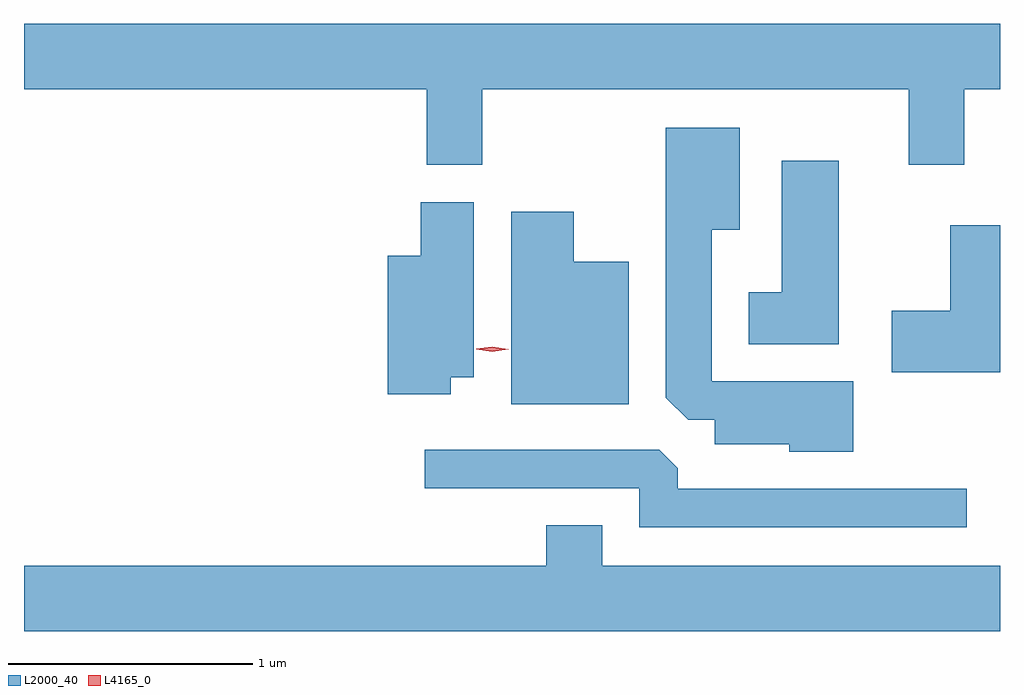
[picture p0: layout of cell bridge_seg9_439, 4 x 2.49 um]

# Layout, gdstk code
import gdstk
lib = gdstk.Library(unit=1e-6, precision=1e-09)
def P(c, l, *ps):  # polygons
    for p in ps: c.add(gdstk.Polygon(p, *l))
L2000_40 = (2000, 40)
L4165_0 = (4165, 0)

bridge_seg9_439 = lib.new_cell('bridge_seg9_439')
P(bridge_seg9_439, L2000_40, [(323.219,2042.876),(324.966,2042.876),(324.966,2042.566),(325.194,2042.566),(325.194,2042.876),(325.34,2042.876),(325.34,2043.144),(321.34,2043.144),(321.34,2042.876),(322.991,2042.876),(322.991,2042.566),(323.219,2042.566)],
  [(324.739,2041.679),(324.159,2041.679),(324.159,2042.301),(324.274,2042.301),(324.274,2042.719),(323.971,2042.719),(323.971,2041.612),(324.062,2041.521),(324.171,2041.521),(324.171,2041.421),(324.476,2041.421),(324.476,2041.391),(324.739,2041.391)],
  [(324.679,2042.584),(324.446,2042.584),(324.446,2042.044),(324.311,2042.044),(324.311,2041.831),(324.679,2041.831)],
  [(323.089,2041.696),(323.184,2041.696),(323.184,2042.414),(322.966,2042.414),(322.966,2042.194),(322.831,2042.194),(322.831,2041.626),(323.089,2041.626)],
  [(323.819,2042.169),(323.594,2042.169),(323.594,2042.374),(323.336,2042.374),(323.336,2041.586),(323.819,2041.586)],
  [(325.34,2042.319),(325.136,2042.319),(325.136,2041.969),(324.896,2041.969),(324.896,2041.716),(325.34,2041.716)],
  [(325.203,2041.239),(324.019,2041.239),(324.019,2041.324),(323.944,2041.399),(322.983,2041.399),(322.983,2041.241),(323.861,2041.241),(323.861,2041.081),(325.203,2041.081)],
  [(325.34,2040.924),(323.709,2040.924),(323.709,2041.089),(323.481,2041.089),(323.481,2040.924),(321.34,2040.924),(321.34,2040.656),(325.34,2040.656)])
P(bridge_seg9_439, L4165_0, [(323.259,2041.801),(323.194,2041.811),(323.193,2041.811),(323.194,2041.812),(323.259,2041.821),(323.325,2041.811),(323.326,2041.811),(323.325,2041.81)])

lib.write_gds('bridge_seg9_439.gds')
